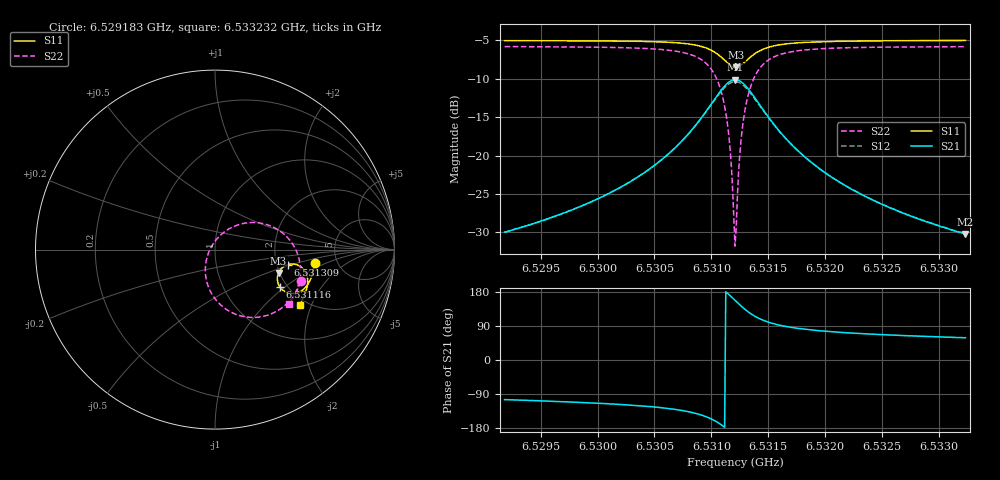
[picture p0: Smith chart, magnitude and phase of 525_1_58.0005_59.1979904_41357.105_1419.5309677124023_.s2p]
#  HZ  S  RI  R  50.00
! Rohde & Schwarz Vector Network Analyzer
! Rohde-Schwarz,ZNB20-2Port,1311601062101988,3.16
! Created: UTC 3/21/2024, 1:13:51 AM
! freq[Hz]  re:S11  im:S11  re:S21  im:S21  re:S12  im:S12  re:S22  im:S22
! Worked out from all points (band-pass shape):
!   401 points, 6.529183 GHz to 6.533232 GHz, reference 50 ohm
!   highest |S21| = -10.12 dB at 6.531207 GHz (marker M1); lowest = -30.2 dB at 6.533232 GHz (marker M2)
!   |S21| within 3 dB of the highest: 6.531006 GHz to 6.531412 GHz (405.3 kHz wide, 0.00621 % of centre)
!   lowest |S11| = -8.5 dB at 6.531218 GHz (marker M3), VSWR 2.21, Z = 98.8 - j29.8 ohm
!   |S11| at or under -10 dB: nowhere
!   |S22| runs from -31.8 to -5.8 dB; largest |S21 - S12| = 0.012
!   S11 on the Smith chart (normalised r, x): 6.529183 GHz: 3.39, -0.71; 6.531116 GHz: 1.83, -0.93; 6.531309 GHz: 2.31, -0.47; 6.533232 GHz: 1.82, -1.64
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6.5291828e9  0.5563 -0.0722  -0.00796 -0.0307  -0.00848 -0.0304  0.4819 -0.1765
6.5298611e9  0.5447 -0.1287  -0.0176 -0.0436  -0.0187 -0.0432  0.4501 -0.2393
6.5302559e9  0.5319 -0.1656  -0.031 -0.0576  -0.0325 -0.0569  0.4151 -0.2857
6.5305393e9  0.5151 -0.1963  -0.0523 -0.0743  -0.0544 -0.0729  0.3673 -0.3283
6.5307721e9  0.4872 -0.2257  -0.0928 -0.0934  -0.0956 -0.0903  0.2856 -0.3676
6.5309442e9  0.4427 -0.2441  -0.1621 -0.0992  -0.1641 -0.0925  0.1581 -0.3726
6.5310455e9  0.3974 -0.2377  -0.2322 -0.0716  -0.2312 -0.062  0.0399 -0.3154
6.5311163e9  0.3623 -0.2091  -0.2836 -0.0115  -0.2774 -0.00173  -0.037 -0.2064
6.5311568e9  0.3496 -0.1804  -0.2993 0.0422  -0.2899 0.0502  -0.0541 -0.1147
6.5311973e9  0.3489 -0.1464  -0.2938 0.1036  -0.2827 0.108  -0.0351 -0.0149
6.5312074e9  0.351 -0.1377  -0.2885 0.1186  -0.2773 0.1221  -0.0241 0.00888
6.5312176e9  0.3541 -0.1295  -0.2819 0.1333  -0.2708 0.1353  -0.0107 0.0314
6.5312277e9  0.358 -0.1216  -0.2741 0.1469  -0.2629 0.1482  0.00458 0.0525
6.5312581e9  0.3742 -0.1016  -0.2432 0.1816  -0.2332 0.1803  0.0603 0.1043
6.5312783e9  0.3873 -0.0919  -0.2191 0.1983  -0.2102 0.196  0.1025 0.1281
6.5313087e9  0.4083 -0.0831  -0.1813 0.2137  -0.1745 0.2103  0.1673 0.1475
6.5313795e9  0.4522 -0.0835  -0.1044 0.2151  -0.101 0.2118  0.2964 0.1369
6.5314808e9  0.4902 -0.1066  -0.0386 0.1826  -0.037 0.1807  0.4032 0.068
6.5316326e9  0.5119 -0.1435  0.000767 0.1347  0.00186 0.1339  0.4615 -0.0289
6.5318857e9  0.5164 -0.1875  0.017 0.0877  0.0181 0.0873  0.476 -0.1274
6.532564e9  0.497 -0.258  0.0185 0.0418  0.0193 0.0416  0.4474 -0.2441
6.5332321e9  0.4708 -0.3081  0.016 0.0263  0.0166 0.026  0.413 -0.3039
